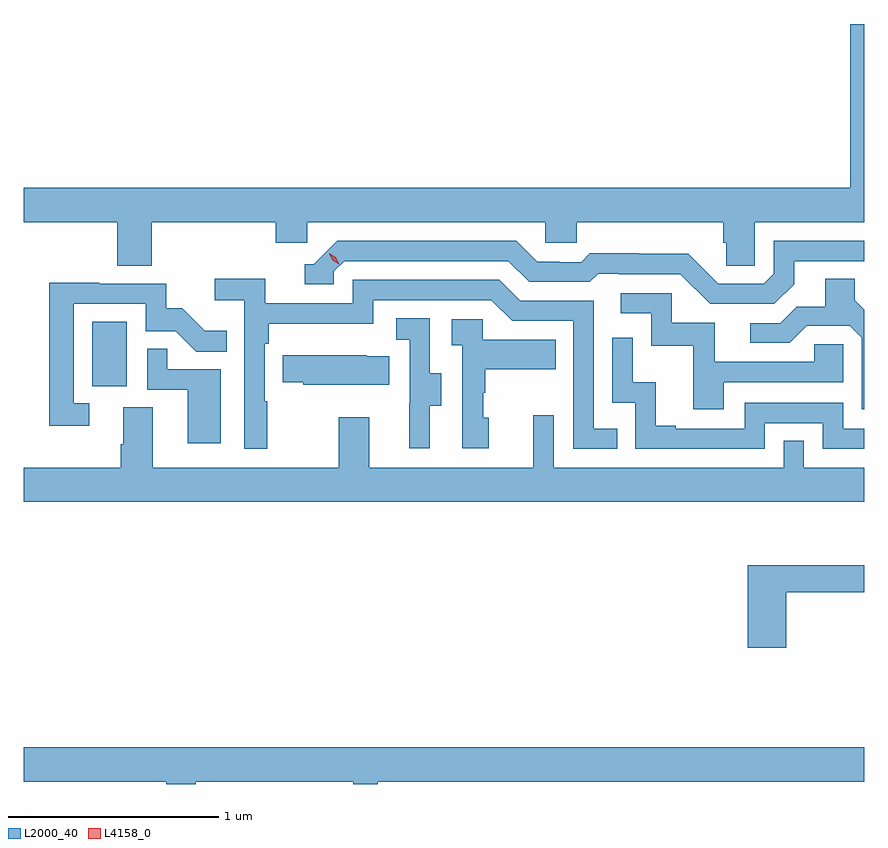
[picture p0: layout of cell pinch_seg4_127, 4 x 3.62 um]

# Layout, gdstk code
import gdstk
lib = gdstk.Library(unit=1e-6, precision=1e-09)
def R(c, l, rs):  # rectangles x0, y0, x1, y1
    for r in rs: c.add(gdstk.rectangle(r[:2], r[2:], *l))
def P(c, l, *ps):  # polygons
    for p in ps: c.add(gdstk.Polygon(p, *l))
L2000_40 = (2000, 40)
L4158_0 = (4158, 0)

pinch_seg4_127 = lib.new_cell('pinch_seg4_127')
R(pinch_seg4_127, L2000_40, [(1022.684,793.374,1022.848,793.681)])
P(pinch_seg4_127, L2000_40, [(1022.358,794.156),(1022.801,794.156),(1022.801,793.948),(1022.966,793.948),(1022.966,794.156),(1023.557,794.156),(1023.557,794.058),(1023.708,794.058),(1023.708,794.156),(1024.839,794.156),(1024.839,794.058),(1024.989,794.058),(1024.989,794.156),(1025.687,794.156),(1025.687,794.058),(1025.701,794.058),(1025.701,793.948),(1025.838,793.948),(1025.838,794.156),(1026.358,794.156),(1026.358,795.1),(1026.293,795.1),(1026.293,794.32),(1022.358,794.32)],
  [(1026.025,793.861),(1026.025,793.971),(1026.358,793.971),(1026.358,794.067),(1025.928,794.067),(1025.928,793.911),(1025.88,793.863),(1025.664,793.863),(1025.522,794.005),(1025.286,794.005),(1025.286,794.008),(1025.053,794.008),(1025.011,793.965),(1024.908,793.965),(1024.908,793.968),(1024.801,793.968),(1024.702,794.067),(1023.849,794.067),(1023.738,793.956),(1023.695,793.956),(1023.695,793.86),(1023.834,793.86),(1023.834,793.923),(1023.882,793.971),(1024.665,793.971),(1024.764,793.872),(1025.053,793.872),(1025.092,793.911),(1025.191,793.911),(1025.191,793.908),(1025.484,793.908),(1025.625,793.767),(1025.931,793.767)],
  [(1023.517,793.304),(1023.504,793.304),(1023.504,793.577),(1023.524,793.577),(1023.524,793.673),(1024.02,793.673),(1024.02,793.785),(1024.584,793.785),(1024.683,793.686),(1024.974,793.686),(1024.974,793.077),(1025.183,793.077),(1025.183,793.173),(1025.07,793.173),(1025.07,793.782),(1024.72,793.782),(1024.621,793.881),(1023.924,793.881),(1023.924,793.77),(1023.506,793.77),(1023.506,793.886),(1023.267,793.886),(1023.267,793.784),(1023.408,793.784),(1023.408,793.077),(1023.517,793.077)],
  [(1026.358,793.739),(1026.313,793.784),(1026.313,793.886),(1026.173,793.886),(1026.173,793.754),(1026.038,793.754),(1025.958,793.674),(1025.817,793.674),(1025.817,793.581),(1026.004,793.581),(1026.085,793.662),(1026.291,793.662),(1026.348,793.605),(1026.348,793.266),(1026.358,793.266)],
  [(1022.668,793.293),(1022.595,793.293),(1022.595,793.767),(1022.937,793.767),(1022.937,793.638),(1023.081,793.638),(1023.179,793.54),(1023.323,793.54),(1023.323,793.639),(1023.219,793.639),(1023.112,793.746),(1023.036,793.746),(1023.036,793.863),(1022.717,793.863),(1022.717,793.868),(1022.479,793.868),(1022.479,793.188),(1022.668,793.188)],
  [(1025.689,793.395),(1026.258,793.395),(1026.258,793.575),(1026.121,793.575),(1026.121,793.491),(1025.647,793.491),(1025.647,793.677),(1025.442,793.677),(1025.442,793.818),(1025.199,793.818),(1025.199,793.722),(1025.346,793.722),(1025.346,793.569),(1025.545,793.569),(1025.545,793.266),(1025.689,793.266)],
  [(1024.291,793.282),(1024.345,793.282),(1024.345,793.437),(1024.29,793.437),(1024.29,793.7),(1024.131,793.7),(1024.131,793.597),(1024.194,793.597),(1024.194,793.293),(1024.193,793.293),(1024.193,793.08),(1024.291,793.08)],
  [(1024.57,793.224),(1024.545,793.224),(1024.545,793.343),(1024.555,793.343),(1024.555,793.457),(1024.889,793.457),(1024.889,793.597),(1024.542,793.597),(1024.542,793.695),(1024.395,793.695),(1024.395,793.571),(1024.446,793.571),(1024.446,793.08),(1024.57,793.08)],
  [(1025.886,793.2),(1026.162,793.2),(1026.162,793.077),(1026.358,793.077),(1026.358,793.173),(1026.258,793.173),(1026.258,793.296),(1025.79,793.296),(1025.79,793.173),(1025.461,793.173),(1025.461,793.186),(1025.366,793.186),(1025.366,793.394),(1025.256,793.394),(1025.256,793.606),(1025.16,793.606),(1025.16,793.296),(1025.268,793.296),(1025.268,793.077),(1025.886,793.077)],
  [(1023.295,793.455),(1023.041,793.455),(1023.041,793.553),(1022.946,793.553),(1022.946,793.359),(1023.137,793.359),(1023.137,793.104),(1023.295,793.104)],
  [(1024.097,793.519),(1023.989,793.519),(1023.989,793.522),(1023.589,793.522),(1023.589,793.393),(1023.687,793.393),(1023.687,793.382),(1024.097,793.382)],
  [(1026.358,792.988),(1026.072,792.988),(1026.072,793.115),(1025.976,793.115),(1025.976,792.988),(1024.881,792.988),(1024.881,793.237),(1024.784,793.237),(1024.784,792.988),(1024.003,792.988),(1024.003,793.228),(1023.856,793.228),(1023.856,792.988),(1022.971,792.988),(1022.971,793.274),(1022.831,793.274),(1022.831,793.1),(1022.819,793.1),(1022.819,792.988),(1022.358,792.988),(1022.358,792.824),(1026.358,792.824)],
  [(1025.987,792.394),(1026.358,792.394),(1026.358,792.523),(1025.804,792.523),(1025.804,792.129),(1025.987,792.129)],
  [(1023.175,791.492),(1023.927,791.492),(1023.927,791.481),(1024.043,791.481),(1024.043,791.492),(1026.358,791.492),(1026.358,791.656),(1022.358,791.656),(1022.358,791.492),(1023.036,791.492),(1023.036,791.481),(1023.175,791.481)])
P(pinch_seg4_127, L4158_0, [(1023.858,793.957),(1023.827,793.977),(1023.811,794.009),(1023.811,794.009),(1023.811,794.009),(1023.842,793.99),(1023.858,793.958),(1023.858,793.957)])

lib.write_gds('pinch_seg4_127.gds')
